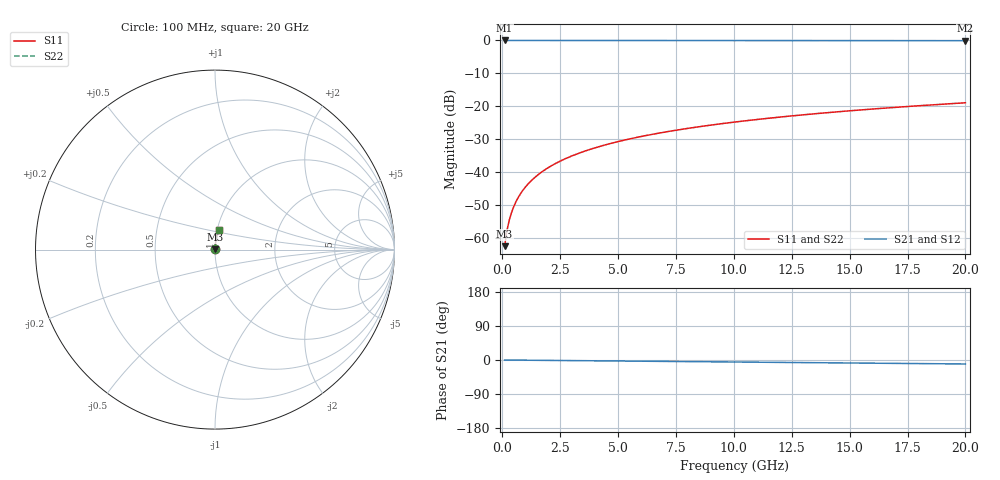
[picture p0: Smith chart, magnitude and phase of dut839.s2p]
! Touchstone file exported from HFSS 2026.1.0
!  File:  C:/ffzhzh/LocalFiles/Ansys_Project_Files/temp_train_TSV_839_1783184873_22436.aedt
!  Generated:  01:10:17 AM Jul  5, 2026
!  Design:  TSV
!  Project:  temp_train_TSV_839_1783184873_22436
! Variables:
!  h_bsmrdl = 2um
!  h_ox = 20um
!  h_rdl = 5um
!  h_sub = 75.12um
!  h_tmrdl = 5um
!  h_tsv = 75.12um
!  h_via = 3um
!  l_bsmrdl = 300um
!  l_sub = 409um
!  l_tmrdl = 200um
!  m_sub = 200um
!  pitch = 57.75um
!  r_tsv = 4.5um
!  s_tmrdl = 10um
!  w_bsmrdl = 18um
!  w_sub = 500um
!  w_tmrdl = 12um
!  x_tsv_center1 = 206um
!  x_tsv_center2 = 524um
!  x_tsv_center3 = 736um
!  x_tsv_center4 = 1054um
!  x_tsv_center5 = 1266um
!  x_tsv_center6 = 1584um
# GHz S MA R 50.000000
! Terminal data exported
! Port[1] = TSV1_1_T1
! Port[2] = TSV1_1_T2
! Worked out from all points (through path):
!   200 points, 100 MHz to 20 GHz, reference 50 ohm
!   highest |S21| = 0.00 dB at 100 MHz (marker M1); lowest = -0.1 dB at 20 GHz (marker M2)
!   group delay of S21, straight-line fit = 1.45 ps
!   lowest |S11| = -62.4 dB at 100 MHz (marker M3), VSWR 1.00, Z = 50 + j0.061 ohm
!   |S11| at or under -10 dB: start of sweep to end of sweep
!   |S22| runs from -62.4 to -18.9 dB; largest |S21 - S12| = 3.3e-15
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0.1  0.0007607 53.3  0.9995 -0.1  0.9995 -0.1  0.0007607 53.3
! Gamma 0 0 0 0
! Port Impedance 50 0 50 0
0.2  0.001302 69.1  0.9995 -0.1  0.9995 -0.1  0.001302 69.1
0.3  0.001882 75.2  0.9995 -0.2  0.9995 -0.2  0.001882 75.2
0.4  0.002469 78.4  0.9995 -0.2  0.9995 -0.2  0.002469 78.4
0.5  0.003057 80.3  0.9995 -0.3  0.9995 -0.3  0.003057 80.3
0.7  0.004235 82.5  0.9995 -0.4  0.9995 -0.4  0.004235 82.5
0.8  0.004823 83.2  0.9994 -0.4  0.9994 -0.4  0.004823 83.2
1  0.006001 84.1  0.9994 -0.5  0.9994 -0.5  0.006001 84.1
1.2  0.007178 84.8  0.9994 -0.6  0.9994 -0.6  0.007178 84.8
1.4  0.008355 85.2  0.9994 -0.8  0.9994 -0.8  0.008355 85.2
1.7  0.01012 85.5  0.9993 -0.9  0.9993 -0.9  0.01012 85.5
2  0.01188 85.7  0.9993 -1.1  0.9993 -1.1  0.01188 85.7
2.7  0.01598 85.8  0.9991 -1.4  0.9991 -1.4  0.01598 85.8
3.5  0.02063 85.7  0.9989 -1.9  0.9989 -1.9  0.02063 85.7
4.2  0.02468 85.5  0.9987 -2.2  0.9987 -2.2  0.02468 85.5
5  0.02928 85.2  0.9985 -2.7  0.9985 -2.7  0.02928 85.2
6.8  0.03957 84.5  0.9979 -3.6  0.9979 -3.6  0.03957 84.5
8.3  0.04809 83.9  0.9974 -4.4  0.9974 -4.4  0.04809 83.9
10.1  0.05827 83.1  0.9967 -5.3  0.9967 -5.3  0.05827 83.1
13.4  0.07683 81.6  0.9953 -7.1  0.9953 -7.1  0.07683 81.6
16.7  0.09524 80.0  0.9935 -8.8  0.9935 -8.8  0.09524 80.0
20  0.1134 78.4  0.9914 -10.5  0.9914 -10.5  0.1134 78.4
